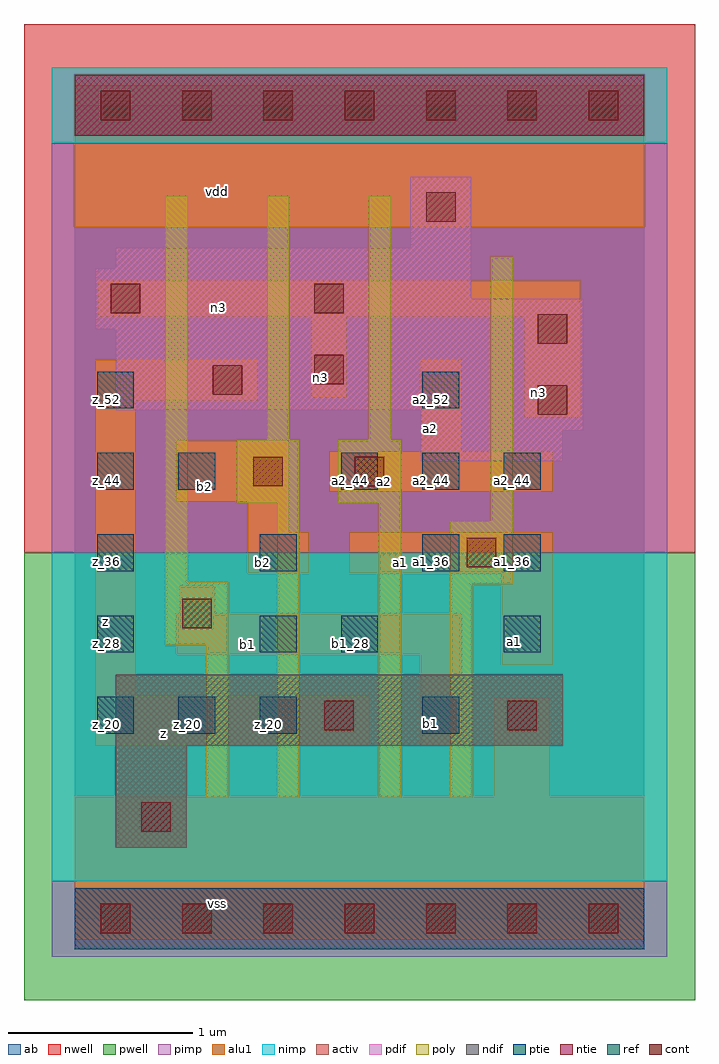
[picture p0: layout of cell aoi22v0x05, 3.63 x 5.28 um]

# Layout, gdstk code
import gdstk
lib = gdstk.Library(unit=1e-6, precision=2.5e-09)
def R(c, l, rs):  # rectangles x0, y0, x1, y1
    for r in rs: c.add(gdstk.rectangle(r[:2], r[2:], *l))
def A(c, l, x, y, w, h, nx, ny, dx, dy):  # array of equal rectangles
    R(c, l, [(x+i*dx, y+j*dy, x+i*dx+w, y+j*dy+h) for i in range(nx) for j in range(ny)])
ndif = (3, 0)
pdif = (4, 0)
ntie = (5, 0)
ptie = (6, 0)
ref = (24, 0)
cont = (25, 0)
pwell = (41, 0)
nwell = (42, 0)
activ = (43, 0)
pimp = (44, 0)
nimp = (45, 0)
poly = (46, 0)
alu1 = (49, 0)
ab = (63, 0)

aoi22v0x05 = lib.new_cell('aoi22v0x05')
R(aoi22v0x05, ndif, [(0.22,0.385,0.605,0.935), (0.22,0.935,2.64,1.32)])
R(aoi22v0x05, pdif, [(1.87,2.475,2.64,2.64), (1.87,2.64,2.75,2.75), (0.22,2.75,2.75,3.19), (0.11,3.19,2.75,3.355), (0.11,3.355,2.145,3.52), (0.22,3.52,2.145,3.63), (1.815,3.63,2.145,4.015)])
R(aoi22v0x05, ntie, [(0,4.235,3.08,4.565)])
R(aoi22v0x05, ptie, [(0,-0.165,3.08,0.165)])
A(aoi22v0x05, ref, 0.12, 1, 0.2, 0.2, 3, 1, 0.44, 0)
A(aoi22v0x05, ref, 0.12, 1.88, 0.2, 0.2, 3, 1, 0.88, 0)
A(aoi22v0x05, ref, 1.44, 2.32, 0.2, 0.2, 3, 1, 0.44, 0)
R(aoi22v0x05, ref, [(1.88,1,2.08,1.2), (0.12,1.44,0.32,1.64), (1,1.44,1.2,1.64), (1.44,1.44,1.64,1.64), (2.32,1.44,2.52,1.64), (2.32,1.88,2.52,2.08), (0.12,2.32,0.32,2.52), (0.56,2.32,0.76,2.52), (0.12,2.76,0.32,2.96), (1.88,2.76,2.08,2.96)])
A(aoi22v0x05, cont, 0.14, -0.08, 0.16, 0.16, 7, 2, 0.44, 4.4)
R(aoi22v0x05, cont, [(0.36,0.47,0.52,0.63), (1.35,1.02,1.51,1.18), (2.34,1.02,2.5,1.18), (0.58,1.57,0.74,1.73), (2.12,1.9,2.28,2.06), (0.965,2.34,1.125,2.5), (1.515,2.34,1.675,2.5), (2.505,2.725,2.665,2.885), (0.745,2.835,0.905,2.995), (1.295,2.89,1.455,3.05), (2.505,3.11,2.665,3.27), (0.195,3.275,0.355,3.435), (1.295,3.275,1.455,3.435), (1.9,3.77,2.06,3.93)])
R(aoi22v0x05, pwell, [(-0.275,-0.44,3.355,1.98)])
R(aoi22v0x05, nwell, [(-0.275,1.98,3.355,4.84)])
R(aoi22v0x05, activ, [(0,-0.165,3.08,0.165), (0.22,0.385,0.605,0.935), (0.22,0.935,2.64,1.32), (1.87,2.475,2.64,2.64), (1.87,2.64,2.75,2.75), (0.22,2.75,2.75,3.19), (0.11,3.19,2.75,3.355), (0.11,3.355,2.145,3.52), (0.22,3.52,2.145,3.63), (1.815,3.63,2.145,4.015), (0,4.235,3.08,4.565)])
R(aoi22v0x05, pimp, [(-0.125,-0.205,3.205,0.205), (-0.125,1.98,3.205,4.195)])
R(aoi22v0x05, nimp, [(-0.125,0.205,3.205,1.98), (-0.125,4.195,3.205,4.605)])
R(aoi22v0x05, poly, [(0.71,0.655,0.83,1.48), (1.095,0.655,1.215,2.25), (1.645,0.655,1.765,2.25), (2.03,0.655,2.15,1.81), (0.49,1.48,0.83,1.82), (2.03,1.81,2.37,2.15), (0.49,1.82,0.61,3.91), (2.25,2.15,2.37,3.58), (0.875,2.25,1.215,2.59), (1.425,2.25,1.765,2.59), (1.04,2.59,1.16,3.91), (1.59,2.59,1.71,3.91)])
R(aoi22v0x05, alu1, [(0,-0.11,3.08,0.66), (2.27,0.66,2.57,1.195), (0.11,0.935,1.595,1.21), (1.87,0.935,2.09,1.43), (0.11,1.21,0.33,2.805), (2.31,1.375,2.585,1.87), (0.55,1.43,2.09,1.65), (0.565,1.65,0.755,1.8), (0.935,1.87,1.265,2.09), (1.485,1.87,2.585,2.09), (0.935,2.09,1.155,2.255), (0.55,2.255,1.155,2.585), (1.375,2.31,2.585,2.53), (1.87,2.53,2.09,3.025), (2.435,2.71,2.735,3.26), (0.11,2.805,0.99,3.025), (1.28,2.82,1.47,3.26), (0.125,3.26,2.735,3.45), (0,3.74,3.08,4.51)])
R(aoi22v0x05, ab, [(0,0,3.08,4.4)])
aoi22v0x05.add(gdstk.Label('vss', (0.77,0.0825), layer=49, texttype=0))
aoi22v0x05.add(gdstk.Label('a1', (2.3775,1.4975), layer=49, texttype=0))
aoi22v0x05.add(gdstk.Label('b1', (1.925,1.0575), layer=49, texttype=0))
aoi22v0x05.add(gdstk.Label('z', (0.48,1.0025), layer=49, texttype=0))
aoi22v0x05.add(gdstk.Label('b1', (0.935,1.485), layer=49, texttype=0))
aoi22v0x05.add(gdstk.Label('a1', (1.76,1.925), layer=49, texttype=0))
aoi22v0x05.add(gdstk.Label('b2', (1.0175,1.925), layer=49, texttype=0))
aoi22v0x05.add(gdstk.Label('a2', (1.6775,2.365), layer=49, texttype=0))
aoi22v0x05.add(gdstk.Label('n3', (2.51,2.8475), layer=49, texttype=0))
aoi22v0x05.add(gdstk.Label('a2', (1.925,2.6525), layer=49, texttype=0))
aoi22v0x05.add(gdstk.Label('b2', (0.7,2.3375), layer=49, texttype=0))
aoi22v0x05.add(gdstk.Label('z', (0.165,1.6075), layer=49, texttype=0))
aoi22v0x05.add(gdstk.Label('n3', (1.3275,2.93), layer=49, texttype=0))
aoi22v0x05.add(gdstk.Label('n3', (0.7775,3.3075), layer=49, texttype=0))
aoi22v0x05.add(gdstk.Label('vdd', (0.77,3.9325), layer=49, texttype=0))
aoi22v0x05.add(gdstk.Label('z_20', (0.61,1.05), layer=24, texttype=0))
aoi22v0x05.add(gdstk.Label('b2_44', (0.61,2.37), layer=24, texttype=0))
aoi22v0x05.add(gdstk.Label('z_20', (1.05,1.05), layer=24, texttype=0))
aoi22v0x05.add(gdstk.Label('b1_28', (1.05,1.49), layer=24, texttype=0))
aoi22v0x05.add(gdstk.Label('b2_36', (1.05,1.93), layer=24, texttype=0))
aoi22v0x05.add(gdstk.Label('b1_28', (1.49,1.49), layer=24, texttype=0))
aoi22v0x05.add(gdstk.Label('a2_44', (1.49,2.37), layer=24, texttype=0))
aoi22v0x05.add(gdstk.Label('b1_20', (1.93,1.05), layer=24, texttype=0))
aoi22v0x05.add(gdstk.Label('a1_36', (1.93,1.93), layer=24, texttype=0))
aoi22v0x05.add(gdstk.Label('a2_44', (1.93,2.37), layer=24, texttype=0))
aoi22v0x05.add(gdstk.Label('a2_52', (1.93,2.81), layer=24, texttype=0))
aoi22v0x05.add(gdstk.Label('z_20', (0.17,1.05), layer=24, texttype=0))
aoi22v0x05.add(gdstk.Label('z_28', (0.17,1.49), layer=24, texttype=0))
aoi22v0x05.add(gdstk.Label('z_36', (0.17,1.93), layer=24, texttype=0))
aoi22v0x05.add(gdstk.Label('z_44', (0.17,2.37), layer=24, texttype=0))
aoi22v0x05.add(gdstk.Label('z_52', (0.17,2.81), layer=24, texttype=0))
aoi22v0x05.add(gdstk.Label('a1_28', (2.37,1.49), layer=24, texttype=0))
aoi22v0x05.add(gdstk.Label('a1_36', (2.37,1.93), layer=24, texttype=0))
aoi22v0x05.add(gdstk.Label('a2_44', (2.37,2.37), layer=24, texttype=0))

lib.write_gds('aoi22v0x05.gds')
